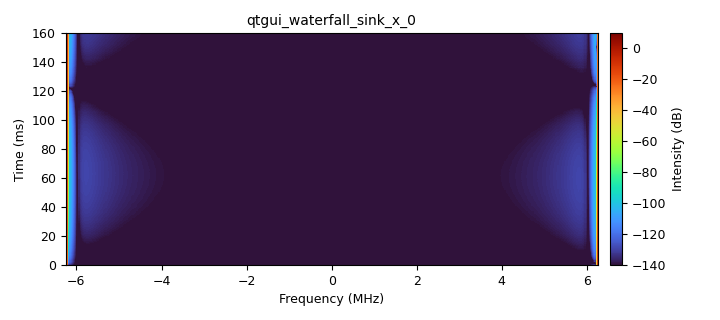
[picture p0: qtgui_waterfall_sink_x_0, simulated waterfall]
options:
  parameters:
    generate_options: qt_gui
    id: Itrigger2_virtual
    output_language: python
    title: Trigger Virtual
  states: {}

blocks:
- name: fc
  id: variable
  parameters:
    value: 14.25e6
  states: {}
- name: fftsz
  id: variable
  parameters:
    value: '1024'
  states: {}
- name: filt_high
  id: variable
  parameters:
    value: 9.1e6
  states: {}
- name: filt_low
  id: variable
  parameters:
    value: 9e6
  states: {}
- name: freq
  id: variable_qtgui_range
  parameters:
    label: Frequency
    start: '-samp_rate/2'
    step: '100'
    stop: samp_rate/2
    value: 1e3
  states: {}
- name: movavg_length
  id: variable
  parameters:
    value: '10'
  states: {}
- name: samp_rate
  id: variable
  parameters:
    value: 200e6/16
  states: {}
- name: analog_sig_source_x_0
  id: analog_sig_source_x
  parameters:
    amp: '1'
    freq: 500e3
    offset: '0'
    phase: '0'
    samp_rate: samp_rate
    type: complex
    waveform: analog.GR_COS_WAVE
  states: {}
- name: blocks_throttle_0_0
  id: blocks_throttle
  parameters:
    samples_per_second: samp_rate
    type: complex
  states: {}
- name: epy_block_0
  id: epy_block
  parameters:
    _source_code: "\"\"\"\nEmbedded Python Blocks:\n\nEach time this file is saved, GRC will instantiate the first class it finds\nto get ports and parameters of your block. The arguments to __init__  will\nbe the parameters. All of them are required to have default values!\n\"\"\"\n\nimport numpy as np\nfrom gnuradio import gr\nimport pmt\nimport time\nimport datetime \n\n\nclass blk(gr.basic_block):  # other base classes are basic_block, decim_block, interp_block\n    \"\"\"Embedded Python Block example - a simple multiply const\"\"\"\n    \n    def __init__(self, hour=0, min=0, sec=0, capture_window = 10, ionosonde_period = 12):  # only default arguments here\n        \"\"\"arguments to this function show up as parameters in GRC\"\"\"\n        gr.basic_block.__init__(\n            self,\n            name='Real Timer Trigger',   # will show up in GRC\n            in_sig=[np.complex64],\n            out_sig=None\n        )\n        # if an attribute with the same name as a parameter is found,\n        # a callback is registered (properties work, too).\n        self.hour = hour\n        self.min = min\n        self.sec = sec\n        self.capture_window = capture_window\n        self.iono_per = ionosonde_period\n        #self.portName_fileName = 'File Name'\n        #self.message_port_register_out(pmt.intern(self.portName_fileName))\n        \n        # Calculate start time in unix\n        timeTuple = time.localtime()\n        timeList = list(timeTuple)\n        timeList[3] = self.hour\n        timeList[4] = self.min\n        timeList[5] = self.sec\n        timeTuple = tuple(timeList)\n        self.startTime = time.mktime(timeTuple)\n        self.writing = False\n        \n    def general_work(self, input_items, output_items):\n        if self.writing:\n            #self.file.write(input_items[0][:])\n            if time.time() >= self.startTime + self.capture_window:\n                self.writing = False\n                #self.file.close()\n                self.startTime = time.time() + self.iono_per*60-self.capture_window\n                print(\"Stop Writing\")\n        elif time.time() >= self.startTime:\n            self.writing = True\n            #self.filename = '{date:%Y%m%d_%H%M%S}.chirp'.format(date=datetime.datetime.now())\n            print(\"Writing\")\n            #self.file = open(self.filename, \"ab\")\n            #self.file.write(input_items[0][:])\n        \n        \n        self.consume(0, len(input_items[0]))\n        return 0\n\n        \n        "
    capture_window: '10'
    hour: '13'
    ionosonde_period: '0.5'
    min: '45'
    sec: '0'
  states: {}
- name: epy_block_1
  id: epy_block
  parameters:
    _source_code: |
      """
      Local Chirp
      By Jaden Keener, Last updated 3/27/23

      Generates a local tone that sweeps the spectrum at the specified slope

      """

      import numpy as np
      import pmt
      from gnuradio import gr


      class blk(gr.sync_block):  

          def __init__(self, slope=100e3, samp_rate=200e6/12, offset = 10e3):
              gr.sync_block.__init__(
                  self,
                  name='Local Chirp Test 1.0',   
                  in_sig=[np.complex64],
                  out_sig=[np.complex64]
              )

              self.slope = slope  
              self.fs = samp_rate
              self.offset = offset
              self.debug = False
              
              self.lastT = 0
              self.lastF = -self.fs/2 + self.offset
              self.spanF = self.lastF + self.fs/2 - self.offset
              self.dt = 1/self.fs
              self.df = self.slope/self.fs/2 #why /2 ?? I have no idea, but it has to be
              # over 2 has something to do with span of f not being -fs/2 to fs/2 but
              # just fs..???
              
              
              self.controlPortName = 'controlIn'
              self.message_port_register_in(pmt.intern(self.controlPortName))
              self.set_msg_handler(pmt.intern(self.controlPortName), self.handle_msg)
              self.control = False
              
                  
              
          def handle_msg(self, msg):
              controlIn = pmt.to_bool(msg)
              
              if controlIn > self.controlLast+self.trigger_Power:
                  self.control = True
              
              self.controlLast = controlIn
              
          def work(self, input_items, output_items):
          
              # Find number of samples on this call
              n = len(input_items[0]) 

              # If we havent progged the whole spectrum
              if self.lastF <= self.offset/2: # WHY OFFSET/2 ??????????? IDK
              
                  # Calculate the values of T and F we prog to on this call
                  newT = self.dt*n + self.lastT
                  newF = self.df*n + self.lastF
                  
                  # Make sure arrays are correct size. Can get slightly offsize due
                  # to float precision errors
                  t = np.resize(np.arange(self.lastT, newT, self.dt), n)
                  f = np.resize(np.arange(self.lastF, newF, self.df), n)
                  
                  # Output is a complex exponential (I/Q)
                  output_items[0][:] = np.exp(1j*2*np.pi*f*t)
                  
                  # Update bookmarks
                  self.lastT = newT
                  self.lastF = newF
              
              # Otherwise do nothing
              else:
                  output_items[0][:] = input_items[0] * 0;
                  if self.debug:
                      self.debug = False
                      raise ValueError(self.lastF)
                  
              
              return len(output_items[0])
    offset: '0'
    samp_rate: samp_rate
    slope: 100e3
  states: {}
- name: epy_block_1_0
  id: epy_block
  parameters:
    _source_code: |
      """ Timer Trigger Block
      """

      import numpy as np
      import datetime
      import time
      from gnuradio import gr
      import pmt

      class blk(gr.sync_block):  

          def __init__(self, start_time = 'test', capture_window = 5): 
              
              """ INPUTS/OUTPUTS:
                      input[0]: Raw Data from SDR
                      
                      output[0]: debug state information
                      output[1]: debug timer information
                      
                      msg[controlPort]: input from custom FFT filter
                  """
              gr.sync_block.__init__(
                  self,
                  name='Timer  Trigger', 
                  in_sig=[np.complex64],
                  out_sig=[np.complex64]
              )
              
              self.start_time = start_time
              self.portName_fileName = 'File Name'
              self.message_port_register_out(pmt.intern(self.portName_fileName))
              
             
             
          def work(self, input_items, output_items):
              
              # Check if we are writing
              if self.writing:
                  # If we are and we still have time on the clock
                  if self.timer < self.timerMax:
                      # Then write data to file
                      self.file.write(input_items[0][:])
                      self.timer += len(input_items[0])
                      output_items[0][:] = 2
                  else:
                      # Otherwise close the file and reset flags
                      self.file.close()
                      self.writing = False
                      self.control = False
                      output_items[0][:] = 0
              
              # If not writing, is it time?
              elif :
                  # Set status variables
                  raise ValueError("Trigger Debug")
                  self.writing = True
                  self.timer = 0
                  output_items[0][:] = 1
                  
                  # Open new file and do first write
                  self.filename = '{date:%Y%m%d_%H%M%S}.chirp'.format(date=datetime.datetime.now())
                  self.file = open(self.filename, "ab")
                  self.file.write(input_items[0][:])
              # Show debug state of none
              else:
                  output_items[0][:] = 0
              
              # For debugging timer
              output_items[1][:] = self.timer
              
              # gnuradio needs this return
              return len(output_items[0])
    capture_window: '5'
    start_time: None
  states: {state: disabled}
- name: import_0
  id: import
  parameters:
    imports: import math
  states: {}
- name: qtgui_waterfall_sink_x_0
  id: qtgui_waterfall_sink_x
  parameters:
    bw: samp_rate
    fc: '0'
    fftsize: '1024'
    type: complex
  states: {}
- name: uhd_usrp_source_0
  id: uhd_usrp_source
  parameters:
    ant0: '"RX2"'
    center_freq0: '0'
    clock_source0: gpsdo
    gain0: '0'
    samp_rate: samp_rate
    show_lo_controls: 'True'
    sync: gps_time
    time_source0: gpsdo
    type: fc32
  states: {}

connections:
- [analog_sig_source_x_0, '0', blocks_throttle_0_0, '0']
- [blocks_throttle_0_0, '0', epy_block_1, '0']
- [epy_block_1, '0', epy_block_0, '0']
- [epy_block_1, '0', qtgui_waterfall_sink_x_0, '0']

metadata:
  file_format: 1
  grc_version: 3.10.5.0
